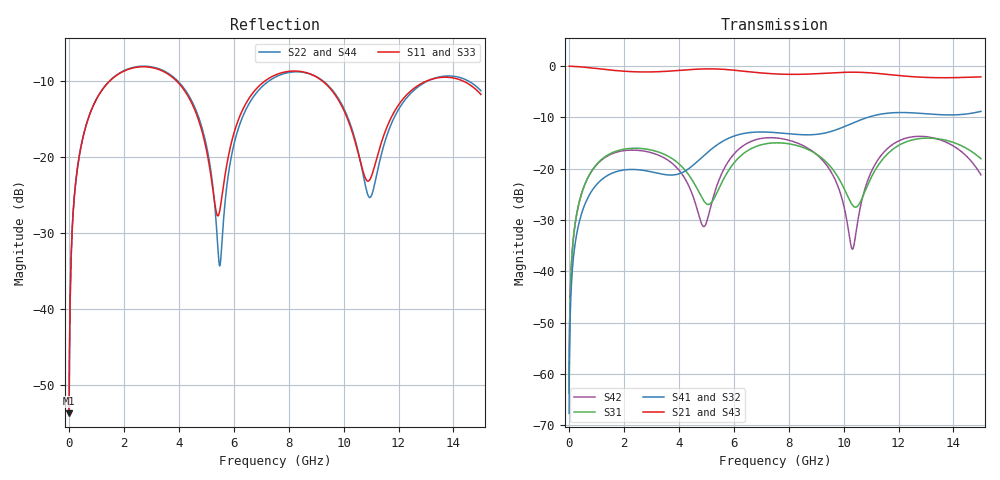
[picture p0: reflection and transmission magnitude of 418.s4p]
! Created with skrf 1.8.0 (http://scikit-rf.org).
# GHz S RI R 50.0
!freq ReS11 ImS11 ReS12 ImS12 ReS13 ImS13
! ReS14 ImS14
! ReS21 ImS21 ReS22 ImS22 ReS23 ImS23
! ReS24 ImS24
! ReS31 ImS31 ReS32 ImS32 ReS33 ImS33
! ReS34 ImS34
! ReS41 ImS41 ReS42 ImS42 ReS43 ImS43
! ReS44 ImS44
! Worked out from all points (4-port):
!   2499 points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, 5 MHz to 15 GHz, reference 50 ohm
!   strongest paths, dB at 5 MHz, 3.476 GHz, 7.19 GHz, 11.1 GHz, 15 GHz:
!     S21: 0.0, -1.0, -1.4, -1.4, -2.1
!     S43: 0.0, -1.0, -1.4, -1.4, -2.1
!     S41: -67.6, -21.1, -12.9, -9.7, -8.8
!     S32: -67.6, -21.2, -12.9, -9.6, -8.8
!     S31: -63.7, -17.2, -15.1, -20.8, -18.0
!     S42: -63.7, -17.9, -14.0, -19.6, -21.2
!   lowest |S11| = -53.7 dB at 5 MHz (marker M1), VSWR 1.00, Z = 50.2 + j0.126 ohm
!   |S11| at or under -10 dB: start of sweep to 1.485 GHz; 3.918 GHz to 7.136 GHz (3.218 GHz wide, 58.2 % of centre); 9.228 GHz to 13.03 GHz (3.798 GHz wide, 34.1 % of centre) (the widest 3 of 4)
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0.005  0.00165 0.00125  0.9983 -0.0032  8.26e-05 0.000648  -8.02e-05 -0.000407
       0.9983 -0.0032  0.00165 0.00125  -8.02e-05 -0.000407  8.24e-05 0.000648
       8.26e-05 0.000648  -8.02e-05 -0.000407  0.00165 0.00125  0.9983 -0.0032
       -8.02e-05 -0.000407  8.24e-05 0.000648  0.9983 -0.0032  0.00165 0.00125
0.3126303  0.0241 0.0823  0.967 -0.1993  0.0114 0.0384  -0.0092 -0.0239
           0.967 -0.1993  0.0243 0.0823  -0.00919 -0.0239  0.0107 0.0386
           0.0114 0.0384  -0.00919 -0.0239  0.0241 0.0823  0.967 -0.1993
           -0.0092 -0.0239  0.0107 0.0386  0.967 -0.1993  0.0243 0.0823
1.519383  0.2639 0.182  0.5604 -0.7233  0.1294 0.0562  -0.0889 -0.00804
          0.5604 -0.7233  0.267 0.18  -0.0888 -0.00818  0.1202 0.0682
          0.1294 0.0562  -0.0888 -0.00818  0.2639 0.182  0.5604 -0.7233
          -0.0889 -0.00804  0.1202 0.0682  0.5604 -0.7233  0.2669 0.18
5.489787  0.0423 0.0136  -0.9337 -0.039  -0.0292 0.06  -0.000966 0.1778
          -0.9337 -0.039  0.0192 -0.00128  -0.00382 0.1778  0.0436 0.0682
          -0.0292 0.06  -0.00382 0.1778  0.0407 0.0142  -0.9337 -0.0387
          -0.000966 0.1778  0.0436 0.0682  -0.9337 -0.0387  0.0206 -0.000892
8.497291  0.3605 -0.0489  0.0193 0.8324  0.138 -0.0851  0.202 -0.0724
          0.0193 0.8324  0.3593 -0.0387  0.2022 -0.0667  0.1435 -0.0901
          0.138 -0.0851  0.2022 -0.0667  0.3632 -0.0502  0.0194 0.8315
          0.202 -0.0724  0.1435 -0.0901  0.0194 0.8315  0.3606 -0.0378
11.22343  0.0851 0.0533  0.8487 -0.0188  0.0226 0.1019  -0.0298 -0.3336
          0.8487 -0.0188  0.0651 0.0451  -0.0186 -0.335  0.0509 0.1077
          0.0226 0.1019  -0.0186 -0.335  0.0792 0.0534  0.8487 -0.0189
          -0.0298 -0.3336  0.0509 0.1077  0.8487 -0.0189  0.071 0.0419
15  0.2339 -0.1095  -0.3719 -0.6908  -0.0238 -0.1231  -0.3034 0.1977
    -0.3719 -0.6908  0.2426 -0.1257  -0.3125 0.1822  -0.00586 -0.0871
    -0.0238 -0.1231  -0.3125 0.1822  0.2361 -0.1148  -0.3713 -0.6896
    -0.3034 0.1977  -0.00586 -0.0871  -0.3713 -0.6896  0.2478 -0.1258
